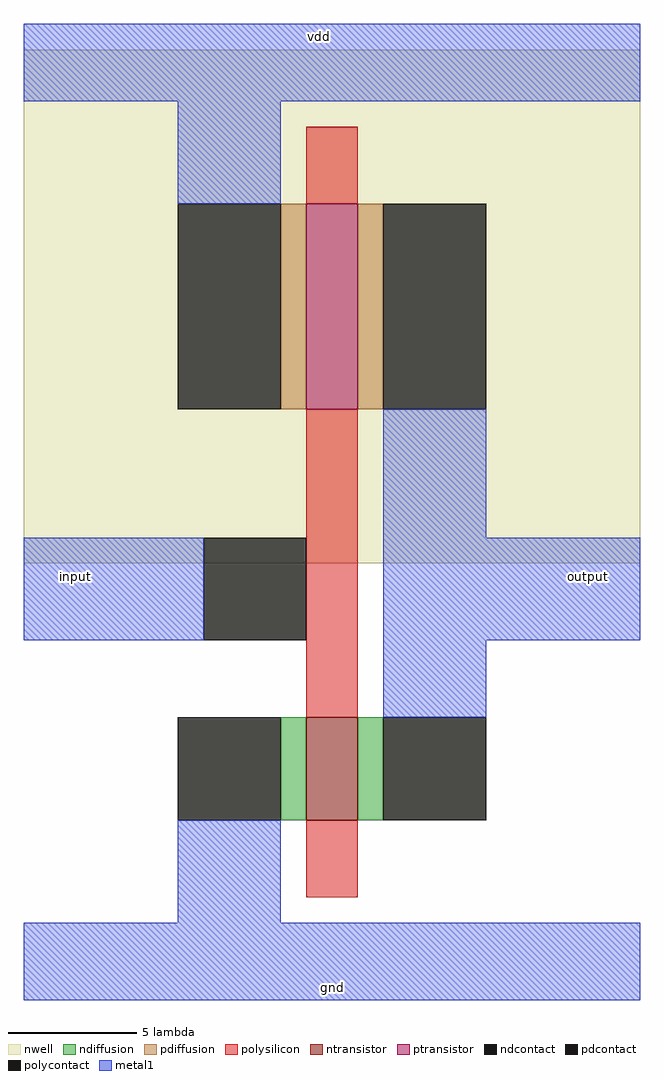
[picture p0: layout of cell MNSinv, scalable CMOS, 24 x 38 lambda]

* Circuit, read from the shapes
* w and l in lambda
.subckt MNSinv gnd input output vdd
M1 output input gnd VSUBS nfet w=4 l=2
M2 output input vdd n1 pfet w=8 l=2
.ends

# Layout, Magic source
magic
tech scmos
<< nwell >>
rect -19 -3 5 17
<< ntransistor >>
rect -8 -13 -6 -9
<< ptransistor >>
rect -8 3 -6 11
<< ndiffusion >>
rect -9 -13 -8 -9
rect -6 -13 -5 -9
<< pdiffusion >>
rect -9 3 -8 11
rect -6 3 -5 11
<< ndcontact >>
rect -13 -13 -9 -9
rect -5 -13 -1 -9
<< pdcontact >>
rect -13 3 -9 11
rect -5 3 -1 11
<< polysilicon >>
rect -8 11 -6 14
rect -8 -9 -6 3
rect -8 -16 -6 -13
<< polycontact >>
rect -12 -6 -8 -2
<< metal1 >>
rect -19 15 5 18
rect -13 11 -9 15
rect -5 -2 -1 3
rect -19 -6 -12 -2
rect -5 -6 5 -2
rect -5 -9 -1 -6
rect -13 -17 -9 -13
rect -19 -20 5 -17
<< labels >>
rlabel metal1 -13 17 -2 18 5 vdd
rlabel metal1 -19 -4 -15 -3 3 input
rlabel metal1 1 -4 5 -3 7 output
rlabel metal1 -9 -20 -5 -19 1 gnd
<< end >>
